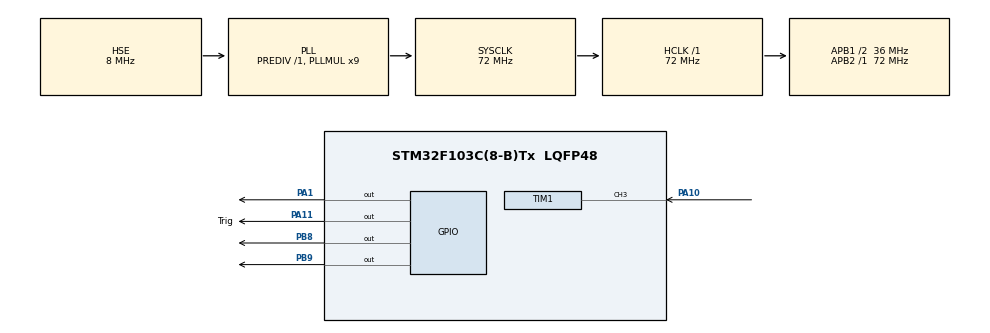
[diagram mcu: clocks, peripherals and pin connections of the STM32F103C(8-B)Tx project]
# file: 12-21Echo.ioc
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Mcu.Family=STM32F1
Mcu.Name=STM32F103C(8-B)Tx
Mcu.Package=LQFP48
NVIC.PriorityGroup=NVIC_PRIORITYGROUP_4
NVIC.TIM1_CC_IRQn=true\:0\:0\:false\:false\:true\:true\:true\:true
PA1.Signal=GPIO_Output
PA10.Signal=S_TIM1_CH3
PA11.GPIO_Label=Trig
PA11.Signal=GPIO_Output
PA13.Mode=Serial_Wire
PA13.Signal=SYS_JTMS-SWDIO
PA14.Mode=Serial_Wire
PA14.Signal=SYS_JTCK-SWCLK
PB8.Signal=GPIO_Output
PB9.Signal=GPIO_Output
PD0-OSC_IN.Mode=HSE-External-Oscillator
PD0-OSC_IN.Signal=RCC_OSC_IN
PD1-OSC_OUT.Mode=HSE-External-Oscillator
PD1-OSC_OUT.Signal=RCC_OSC_OUT
ProjectManager.HeapSize=0x200
ProjectManager.StackSize=0x400
ProjectManager.TargetToolchain=STM32CubeIDE
RCC.AHBFreq_Value=72000000
RCC.APB1CLKDivider=RCC_HCLK_DIV2
RCC.APB1Freq_Value=36000000
RCC.APB1TimFreq_Value=72000000
RCC.APB2Freq_Value=72000000
RCC.APB2TimFreq_Value=72000000
RCC.HCLKFreq_Value=72000000
RCC.PLLMUL=RCC_PLL_MUL9
RCC.PLLSourceVirtual=RCC_PLLSOURCE_HSE
RCC.SYSCLKFreq_VALUE=72000000
RCC.SYSCLKSource=RCC_SYSCLKSOURCE_PLLCLK
RCC.USBFreq_Value=72000000
SH.S_TIM1_CH3.0=TIM1_CH3,Input_Capture3_from_TI3
TIM1.Channel-Input_Capture3_from_TI3=TIM_CHANNEL_3
TIM1.Channel-Input_Capture4_from_TI3_63=TIM_CHANNEL_4
TIM1.ICPolarity_CH4=TIM_INPUTCHANNELPOLARITY_FALLING
TIM1.Prescaler=71
VP_TIM1_VS_ClockSourceINT.Mode=Internal
VP_TIM1_VS_indirect_ch3.Mode=Input_Capture4_from_TI3_63
board=custom

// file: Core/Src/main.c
/* USER CODE BEGIN Header */
/**
  ******************************************************************************
  * @file           : main.c
  * @brief          : Main program body
  ******************************************************************************
  * @attention
  *
  * Copyright (c) 2025 STMicroelectronics.
  * All rights reserved.
  *
  * This software is licensed under terms that can be found in the LICENSE file
  * in the root directory of this software component.
  * If no LICENSE file comes with this software, it is provided AS-IS.
  *
  ******************************************************************************
  */
/* USER CODE END Header */
#include "main.h"
#include "tim.h"
#include "gpio.h"

/* USER CODE BEGIN Includes */
#include "OLED.h"
/* USER CODE END Includes */

/* USER CODE BEGIN PTD */
#define SAMPLE_RATE 5
uint16_t RISE_EDGE = 0;
uint16_t FALL_EDGE = 0;
uint16_t DISTANCE = 0;
uint16_t avg_distance_cm = 0;

float history_index[SAMPLE_RATE] = {0};  //样本缓存索引
uint16_t buffer_index = 0;  //当前样本点存放索引
/* USER CODE END PTD */

void SystemClock_Config(void);
/* USER CODE BEGIN PFP */
//简单平均值滤波
void HAL_TIM_IC_CaptureCallback(TIM_HandleTypeDef *htim)
{
  if(htim->Instance == TIM1 && htim->Channel == HAL_TIM_ACTIVE_CHANNEL_4)
  {
    // 读取捕获值
      RISE_EDGE = HAL_TIM_ReadCapturedValue(htim, TIM_CHANNEL_3);
      FALL_EDGE = HAL_TIM_ReadCapturedValue(htim, TIM_CHANNEL_4);
    // 计算距离（防止回环）
    if (RISE_EDGE < FALL_EDGE) {DISTANCE = FALL_EDGE - RISE_EDGE;}
    else{DISTANCE = (0xFFFF - RISE_EDGE) + FALL_EDGE;}
    //存放入缓存
    history_index[buffer_index] = (float)DISTANCE * 0.034 /2;
    buffer_index++;
    if (buffer_index >= SAMPLE_RATE)buffer_index = 0; //10个是一个周期
    //计算平均值
    float sum = 0;
    for (uint8_t i = 0; i < SAMPLE_RATE; i++)
    {
      sum += history_index[i];
    }
    avg_distance_cm = sum / SAMPLE_RATE;
  }

  }

/* USER CODE END PFP */

int main(void)
{

  /* MCU Configuration--------------------------------------------------------*/

  /* Reset of all peripherals, Initializes the Flash interface and the Systick. */
  HAL_Init();

  /* Configure the system clock */
  SystemClock_Config();

  /* Initialize all configured peripherals */
  MX_GPIO_Init();
  MX_TIM1_Init();
  /* USER CODE BEGIN 2 */
  // 初始化OLED
  OLED_Init();
  OLED_Clear();
  //开启捕获通道
  HAL_TIM_IC_Start(&htim1, TIM_CHANNEL_3);
  HAL_TIM_IC_Start_IT(&htim1, TIM_CHANNEL_4);

  /* USER CODE END 2 */

  /* Infinite loop */
  /* USER CODE BEGIN WHILE */
  while (1)
  {
    //触发Trig下降沿
    HAL_GPIO_WritePin(Trig_GPIO_Port, Trig_Pin, GPIO_PIN_SET);
    HAL_Delay(1);
    HAL_GPIO_WritePin(Trig_GPIO_Port, Trig_Pin, GPIO_PIN_RESET);
    // __HAL_TIM_SET_COUNTER(&htim1, 0); //清零防止回环
    HAL_Delay(20); //等待20ms
    // 显示距离
    OLED_ShowNum(0, 0, avg_distance_cm, 3, 8);
    OLED_ShowString(0, 16, "cm", 8);
    OLED_Update();

    /* USER CODE END WHILE */

  }
}

void SystemClock_Config(void)
{
  RCC_OscInitTypeDef RCC_OscInitStruct = {0};
  RCC_ClkInitTypeDef RCC_ClkInitStruct = {0};

  /** Initializes the RCC Oscillators according to the specified parameters
  * in the RCC_OscInitTypeDef structure.
  */
  RCC_OscInitStruct.OscillatorType = RCC_OSCILLATORTYPE_HSE;
  RCC_OscInitStruct.HSEState = RCC_HSE_ON;
  RCC_OscInitStruct.HSEPredivValue = RCC_HSE_PREDIV_DIV1;
  RCC_OscInitStruct.HSIState = RCC_HSI_ON;
  RCC_OscInitStruct.PLL.PLLState = RCC_PLL_ON;
  RCC_OscInitStruct.PLL.PLLSource = RCC_PLLSOURCE_HSE;
  RCC_OscInitStruct.PLL.PLLMUL = RCC_PLL_MUL9;
  if (HAL_RCC_OscConfig(&RCC_OscInitStruct) != HAL_OK)
  {
    Error_Handler();
  }

  /** Initializes the CPU, AHB and APB buses clocks
  */
  RCC_ClkInitStruct.ClockType = RCC_CLOCKTYPE_HCLK|RCC_CLOCKTYPE_SYSCLK
                              |RCC_CLOCKTYPE_PCLK1|RCC_CLOCKTYPE_PCLK2;
  RCC_ClkInitStruct.SYSCLKSource = RCC_SYSCLKSOURCE_PLLCLK;
  RCC_ClkInitStruct.AHBCLKDivider = RCC_SYSCLK_DIV1;
  RCC_ClkInitStruct.APB1CLKDivider = RCC_HCLK_DIV2;
  RCC_ClkInitStruct.APB2CLKDivider = RCC_HCLK_DIV1;

  if (HAL_RCC_ClockConfig(&RCC_ClkInitStruct, FLASH_LATENCY_2) != HAL_OK)
  {
    Error_Handler();
  }
}

void Error_Handler(void)
{
  __disable_irq();
  while (1)
  {
  }
}
